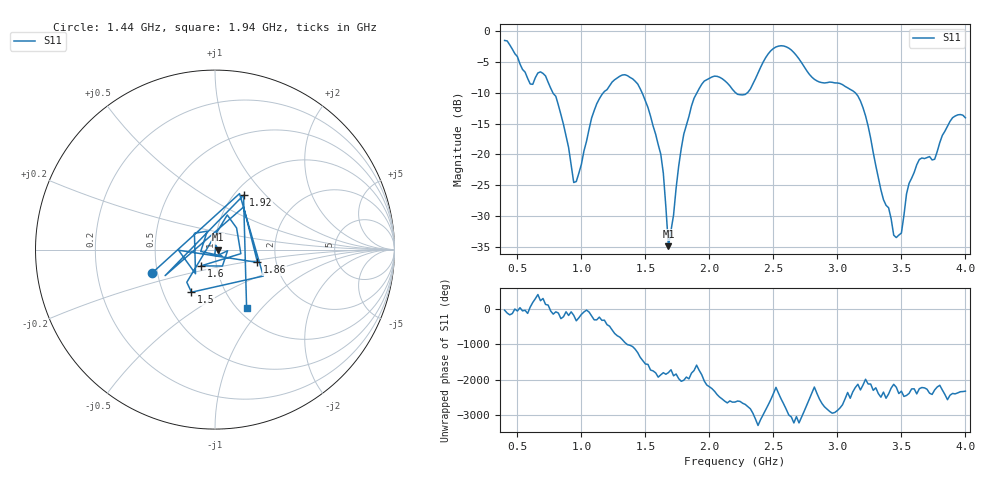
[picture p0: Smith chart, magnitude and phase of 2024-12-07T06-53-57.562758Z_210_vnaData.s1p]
!Created with skrf (http://scikit-rf.org).
# Hz S RI R 50.0
!freq ReS11 ImS11
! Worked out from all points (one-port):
!   181 points, 400 MHz to 4 GHz, reference 50 ohm
!   lowest |S11| = -34.9 dB at 1.68 GHz (marker M1), VSWR 1.04, Z = 51.8 - j0.0487 ohm
!   |S11| at or under -10 dB: 777.5 MHz to 1.171 GHz (393.4 MHz wide, 40.4 % of centre); 1.474 GHz to 1.902 GHz (427.9 MHz wide, 25.3 % of centre); 3.141 GHz to end of sweep (the widest 3 of 4)
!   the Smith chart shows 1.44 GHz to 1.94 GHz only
!   S11 on the Smith chart (normalised r, x): 1.44 GHz: 0.47, -0.14; 1.5 GHz: 0.69, -0.36; 1.6 GHz: 0.84, -0.15; 1.86 GHz: 1.60, -0.24; 1.92 GHz: 1.10, +0.76; 1.94 GHz: 1.10, -0.83
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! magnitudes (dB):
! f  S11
! 400 MHz  -1.5
! 600 MHz  -8.6
! 720 MHz  -7.3
! 860 MHz  -15.1
! 960 MHz  -24.4
! 1.12 GHz  -11.8
! 1.3 GHz  -7.3
! 1.44 GHz  -8.6
! 1.5 GHz  -11.3
! 1.6 GHz  -18.4
! 1.64 GHz  -23.1
! 1.68 GHz  -34.9
! 1.76 GHz  -21.9
! 1.86 GHz  -12.1
! 1.92 GHz  -9.3
! 1.94 GHz  -8.6
! 2.2 GHz  -9.9
! 2.3 GHz  -9.9
! 2.5 GHz  -2.8
! 2.66 GHz  -3.5
! 3.1 GHz  -9.4
! 3.22 GHz  -13.7
! 3.44 GHz  -33.1
! 3.5 GHz  -32.8
! 3.56 GHz  -24.7
! 3.76 GHz  -20.8
! 3.9 GHz  -14.0
! 4 GHz  -14.1
